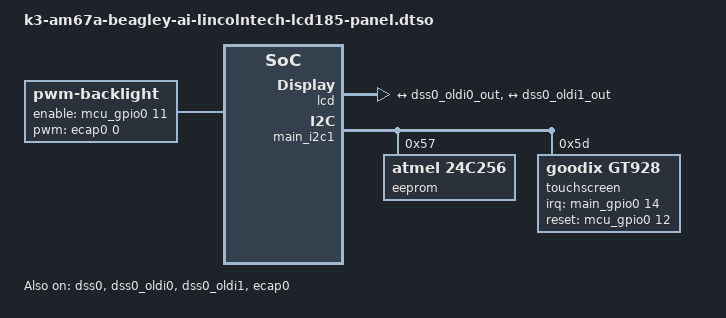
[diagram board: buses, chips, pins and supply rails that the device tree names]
// SPDX-License-Identifier: GPL-2.0-or-later OR MIT
/**
 * Lincoln tech Solutions OLDI panel (LCD185-101CT) and touch DT overlay for AM67A-BeagleY-AI
 *
 * This overlay adds support for the Lincoln tech LCD185-101CT OLDI panel interfaced with
 * the DSS0 display subsystem on BeagleY-AI. The panel includes capacitive touchscreen support.
 *
 * Copyright (C) 2026 Texas Instruments Incorporated - https://www.ti.com/
 */

/dts-v1/;
/plugin/;

#include <dt-bindings/gpio/gpio.h>
#include <dt-bindings/interrupt-controller/irq.h>
#include "k3-pinctrl.h"

&{/} {
	backlight: backlight {
		compatible = "pwm-backlight";
		pinctrl-names = "default";
		pinctrl-0 = <&backlight_pins_default &backlight_en_pins_default>;
		brightness-levels = <0 4 8 16 32 64 128 255>;
		default-brightness-level = <6>;
		enable-gpios = <&mcu_gpio0 11 GPIO_ACTIVE_HIGH>;
		pwms = <&ecap0 0 20000 0>;
	};

	lcd {
		compatible = "lincolntech,lcd185-101ct";
		backlight = <&backlight>;
		/*
		 * Note that the OLDI TX 0 transmits the odd set of pixels
		 * while the OLDI TX 1 transmits the even set. This is a
		 * fixed configuration in the IP integration and is not
		 * changeable. The properties, "dual-lvds-odd-pixels" and
		 * "dual-lvds-even-pixels" have been used to merely
		 * identify if a Dual Link configuration is required.
		 * Swapping them will cause an error in the dss oldi driver.
		 */
		power-supply = <&vsys_5v0>;
		ports {
			#address-cells = <1>;
			#size-cells = <0>;

			port@0 {
				reg = <0>;
				dual-lvds-odd-pixels;
				lcd_in0: endpoint {
					remote-endpoint = <&dss0_oldi0_out>;
				};
			};
			port@1 {
				reg = <1>;
				dual-lvds-even-pixels;
				lcd_in1: endpoint {
					remote-endpoint = <&dss0_oldi1_out>;
				};
			};
		};
	};
};

&main_pmx0 {
	backlight_pins_default: backlight-default-pins {
		pinctrl-single,pins = <
			J722S_IOPAD(0x01f0, PIN_OUTPUT, 8) /* (A23) ECAP0_IN_APWM_OUT BL_PWM */
		>;
	};

	touchscreen_int_pins_default: touchscreen-int-default-pins {
		pinctrl-single,pins = <
			J722S_IOPAD(0x0038, PIN_INPUT, 7) /* (J22) GPIO0_14 TP_INT */
		>;
	};
};

&mcu_pmx0 {
	backlight_en_pins_default: backlight-en-default-pins {
		pinctrl-single,pins = <
			J722S_MCU_IOPAD(0x002c, PIN_OUTPUT, 7) /* (C4) MCU_GPIO0_11 BL_EN */
		>;
	};

	touchscreen_rst_pins_default: touchscreen-rst-default-pins {
		pinctrl-single,pins = <
			J722S_MCU_IOPAD(0x0030, PIN_OUTPUT, 7) /* (C3) MCU_GPIO0_12 MST_RST */
		>;
	};
};

&dss0 {
	status = "okay";

	ports {
		#address-cells = <1>;
		#size-cells = <0>;

		/* VP1: Output to OLDI */
		port@0 {
			reg = <0>;
			#address-cells = <1>;
			#size-cells = <0>;

			dss0_dpi0_out0: endpoint@0 {
				reg = <0>;
				remote-endpoint = <&dss0_oldi0_in>;
			};

			dss0_dpi0_out1: endpoint@1 {
				reg = <1>;
				remote-endpoint = <&dss0_oldi1_in>;
			};
		};
	};
};

&dss0_oldi0 {
	status = "okay";
	ti,companion-oldi = <&dss0_oldi1>;

	ports {
		#address-cells = <1>;
		#size-cells = <0>;

		port@0 {
			reg = <0>;

			dss0_oldi0_in: endpoint {
				remote-endpoint = <&dss0_dpi0_out0>;
			};
		};

		port@1 {
			reg = <1>;

			dss0_oldi0_out: endpoint {
				remote-endpoint = <&lcd_in0>;
			};
		};
	};
};

&dss0_oldi1 {
	status = "okay";
	ti,secondary-oldi;
	ti,companion-oldi = <&dss0_oldi0>;

	ports {
		#address-cells = <1>;
		#size-cells = <0>;

		port@0 {
			reg = <0>;

			dss0_oldi1_in: endpoint {
				remote-endpoint = <&dss0_dpi0_out1>;
			};
		};

		port@1 {
			reg = <1>;

			dss0_oldi1_out: endpoint {
				remote-endpoint = <&lcd_in1>;
			};
		};
	};
};

&main_i2c1 {
	pinctrl-names = "default";
	pinctrl-0 = <&main_i2c1_pins_default>;
	#address-cells = <1>;
	#size-cells = <0>;
	status = "okay";

	eeprom@57 {
		compatible = "atmel,24c256";
		reg = <0x57>;
	};

	touchscreen@5d {
		compatible = "goodix,gt928";
		reg = <0x5d>;
		pinctrl-names = "default";
		pinctrl-0 = <&touchscreen_int_pins_default &touchscreen_rst_pins_default>;
		interrupt-parent = <&main_gpio0>;
		interrupts = <14 IRQ_TYPE_EDGE_FALLING>;
		irq-gpios = <&main_gpio0 14 GPIO_ACTIVE_HIGH>;
		reset-gpios = <&mcu_gpio0 12 GPIO_ACTIVE_HIGH>;
		touchscreen-size-x = <1920>;
		touchscreen-size-y = <1200>;
	};
};

&ecap0 {
	status = "okay";
};
